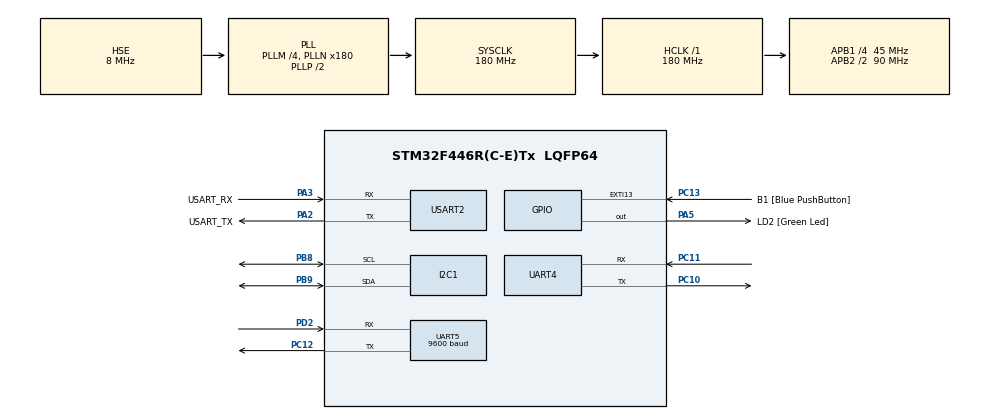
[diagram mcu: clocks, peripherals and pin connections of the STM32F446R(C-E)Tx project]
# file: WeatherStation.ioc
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Dma.Request0=UART5_RX
Dma.Request1=UART4_RX
Dma.UART4_RX.1.Direction=DMA_PERIPH_TO_MEMORY
Dma.UART4_RX.1.FIFOMode=DMA_FIFOMODE_DISABLE
Dma.UART4_RX.1.Instance=DMA1_Stream2
Dma.UART4_RX.1.MemDataAlignment=DMA_MDATAALIGN_BYTE
Dma.UART4_RX.1.MemInc=DMA_MINC_ENABLE
Dma.UART4_RX.1.Mode=DMA_CIRCULAR
Dma.UART4_RX.1.PeriphDataAlignment=DMA_PDATAALIGN_BYTE
Dma.UART4_RX.1.PeriphInc=DMA_PINC_DISABLE
Dma.UART4_RX.1.Priority=DMA_PRIORITY_LOW
Dma.UART5_RX.0.Direction=DMA_PERIPH_TO_MEMORY
Dma.UART5_RX.0.FIFOMode=DMA_FIFOMODE_DISABLE
Dma.UART5_RX.0.Instance=DMA1_Stream0
Dma.UART5_RX.0.MemDataAlignment=DMA_MDATAALIGN_BYTE
Dma.UART5_RX.0.MemInc=DMA_MINC_ENABLE
Dma.UART5_RX.0.Mode=DMA_CIRCULAR
Dma.UART5_RX.0.PeriphDataAlignment=DMA_PDATAALIGN_BYTE
Dma.UART5_RX.0.PeriphInc=DMA_PINC_DISABLE
Dma.UART5_RX.0.Priority=DMA_PRIORITY_LOW
FREERTOS.Mutexes01=mutex_sensors,Dynamic,NULL;mutex_metar,Dynamic,NULL;mutex_taf,Dynamic,NULL;mutex_console,Dynamic,NULL
FREERTOS.Queues01=queue_sensors,16,sensors_t,0,Dynamic,NULL,NULL;queue_reportMetar,16,report_metar_t,0,Dynamic,NULL,NULL;queue_reportTAF,16,report_taf_t,0,Dynamic,NULL,NULL
FREERTOS.Tasks01=thread_sensors,40,512,thread_sensors_func,Default,NULL,Dynamic,NULL,NULL;thread_lcd,8,512,thread_lcd_func,Default,NULL,Dynamic,NULL,NULL;thread_btooth,24,512,thread_btooth_func,Default,NULL,Dynamic,NULL,NULL;thread_reports,8,4096,thread_reports_func,Default,NULL,Dynamic,NULL,NULL
FREERTOS.configCHECK_FOR_STACK_OVERFLOW=1
FREERTOS.configENABLE_FPU=1
FREERTOS.configGENERATE_RUN_TIME_STATS=1
FREERTOS.configTOTAL_HEAP_SIZE=65536
FREERTOS.configUSE_MALLOC_FAILED_HOOK=1
FREERTOS.configUSE_NEWLIB_REENTRANT=1
FREERTOS.configUSE_STATS_FORMATTING_FUNCTIONS=1
FREERTOS.copyHeapFile=0
I2C1.I2C_Mode=I2C_Fast
Mcu.Family=STM32F4
Mcu.Name=STM32F446R(C-E)Tx
Mcu.Package=LQFP64
NVIC.DMA1_Stream0_IRQn=true\:0\:0\:false\:false\:true\:true\:false\:true
NVIC.DMA1_Stream2_IRQn=true\:0\:0\:false\:false\:true\:true\:false\:true
NVIC.PriorityGroup=NVIC_PRIORITYGROUP_4
NVIC.TIM6_DAC_IRQn=true\:0\:0\:false\:false\:true\:false\:false\:true
NVIC.TimeBase=TIM6_DAC_IRQn
NVIC.TimeBaseIP=TIM6
PA13.GPIO_Label=TMS
PA13.Mode=Serial_Wire
PA13.Signal=SYS_JTMS-SWDIO
PA14.GPIO_Label=TCK
PA14.Mode=Serial_Wire
PA14.Signal=SYS_JTCK-SWCLK
PA2.GPIO_Label=USART_TX
PA2.Mode=Asynchronous
PA2.Signal=USART2_TX
PA3.GPIO_Label=USART_RX
PA3.Mode=Asynchronous
PA3.Signal=USART2_RX
PA5.GPIO_Label=LD2 [Green Led]
PA5.Signal=GPIO_Output
PB3.GPIO_Label=SWO
PB3.Signal=SYS_JTDO-SWO
PB8.Mode=I2C
PB8.Signal=I2C1_SCL
PB9.Mode=I2C
PB9.Signal=I2C1_SDA
PC10.Mode=Asynchronous
PC10.Signal=UART4_TX
PC11.Mode=Asynchronous
PC11.Signal=UART4_RX
PC12.Mode=Asynchronous
PC12.Signal=UART5_TX
PC13.GPIO_Label=B1 [Blue PushButton]
PC13.GPIO_ModeDefaultEXTI=GPIO_MODE_IT_FALLING
PC13.Signal=GPXTI13
PC14-OSC32_IN.Signal=RCC_OSC32_IN
PC15-OSC32_OUT.Signal=RCC_OSC32_OUT
PD2.Mode=Asynchronous
PD2.Signal=UART5_RX
PH0-OSC_IN.Mode=HSE-External-Clock-Source
PH0-OSC_IN.Signal=RCC_OSC_IN
PH1-OSC_OUT.Mode=HSE-External-Clock-Source
PH1-OSC_OUT.Signal=RCC_OSC_OUT
ProjectManager.HeapSize=0x200
ProjectManager.StackSize=0x400
ProjectManager.TargetToolchain=STM32CubeIDE
RCC.AHBFreq_Value=180000000
RCC.APB1CLKDivider=RCC_HCLK_DIV4
RCC.APB1Freq_Value=45000000
RCC.APB1TimFreq_Value=90000000
RCC.APB2CLKDivider=RCC_HCLK_DIV2
RCC.APB2Freq_Value=90000000
RCC.APB2TimFreq_Value=180000000
RCC.CortexFreq_Value=180000000
RCC.FLatency-AdvancedSettings=FLASH_LATENCY_5
RCC.HCLKFreq_Value=180000000
RCC.HSE_VALUE=8000000
RCC.HSI_VALUE=16000000
RCC.LSE_VALUE=32768
RCC.PLLM=4
RCC.PLLN=180
RCC.PLLSourceVirtual=RCC_PLLSOURCE_HSE
RCC.SYSCLKFreq_VALUE=180000000
RCC.SYSCLKSource=RCC_SYSCLKSOURCE_PLLCLK
RCC.USBFreq_Value=180000000
RCC.VCOOutputFreq_Value=360000000
TIM2.Period=0xFFFFFFFF
TIM2.Prescaler=900-1
UART4.VirtualMode=Asynchronous
UART5.BaudRate=9600
UART5.VirtualMode=Asynchronous
USART2.VirtualMode=VM_ASYNC
VP_FREERTOS_VS_CMSIS_V2.Mode=CMSIS_V2
VP_SYS_VS_tim6.Mode=TIM6
VP_TIM2_VS_ClockSourceINT.Mode=Internal
board=NUCLEO-F446RE

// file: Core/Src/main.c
/* USER CODE BEGIN Header */
/**
  ******************************************************************************
  * @file           : main.c
  * @brief          : Main program body
  ******************************************************************************
  * @attention
  *
  * <h2><center>&copy; Copyright (c) 2020 STMicroelectronics.
  * All rights reserved.</center></h2>
  *
  * This software component is licensed by ST under BSD 3-Clause license,
  * the "License"; You may not use this file except in compliance with the
  * License. You may obtain a copy of the License at:
  *                        opensource.org/licenses/BSD-3-Clause
  *
  ******************************************************************************
  */
/* USER CODE END Header */
#include "main.h"
#include "cmsis_os.h"
#include "dma.h"
#include "i2c.h"
#include "tim.h"
#include "usart.h"
#include "gpio.h"

void SystemClock_Config(void);
void MX_FREERTOS_Init(void);

int main(void)
{

  /* MCU Configuration--------------------------------------------------------*/

  /* Reset of all peripherals, Initializes the Flash interface and the Systick. */
  HAL_Init();

  /* Configure the system clock */
  SystemClock_Config();

  /* Initialize all configured peripherals */
  MX_GPIO_Init();
  MX_DMA_Init();
  MX_I2C1_Init();
  MX_UART5_Init();
  MX_USART2_UART_Init();
  MX_UART4_Init();
  MX_TIM2_Init();

  /* Init scheduler */
  osKernelInitialize();  /* Call init function for freertos objects (in freertos.c) */
  MX_FREERTOS_Init();
  /* Start scheduler */
  osKernelStart();

  /* We should never get here as control is now taken by the scheduler */
  /* Infinite loop */
  while (1)
  {

  }
}

void SystemClock_Config(void)
{
  RCC_OscInitTypeDef RCC_OscInitStruct = {0};
  RCC_ClkInitTypeDef RCC_ClkInitStruct = {0};

  /** Configure the main internal regulator output voltage
  */
  __HAL_RCC_PWR_CLK_ENABLE();
  __HAL_PWR_VOLTAGESCALING_CONFIG(PWR_REGULATOR_VOLTAGE_SCALE1);
  /** Initializes the RCC Oscillators according to the specified parameters
  * in the RCC_OscInitTypeDef structure.
  */
  RCC_OscInitStruct.OscillatorType = RCC_OSCILLATORTYPE_HSE;
  RCC_OscInitStruct.HSEState = RCC_HSE_BYPASS;
  RCC_OscInitStruct.PLL.PLLState = RCC_PLL_ON;
  RCC_OscInitStruct.PLL.PLLSource = RCC_PLLSOURCE_HSE;
  RCC_OscInitStruct.PLL.PLLM = 4;
  RCC_OscInitStruct.PLL.PLLN = 180;
  RCC_OscInitStruct.PLL.PLLP = RCC_PLLP_DIV2;
  RCC_OscInitStruct.PLL.PLLQ = 2;
  RCC_OscInitStruct.PLL.PLLR = 2;
  if (HAL_RCC_OscConfig(&RCC_OscInitStruct) != HAL_OK)
  {
    Error_Handler();
  }
  /** Activate the Over-Drive mode
  */
  if (HAL_PWREx_EnableOverDrive() != HAL_OK)
  {
    Error_Handler();
  }
  /** Initializes the CPU, AHB and APB buses clocks
  */
  RCC_ClkInitStruct.ClockType = RCC_CLOCKTYPE_HCLK|RCC_CLOCKTYPE_SYSCLK
                              |RCC_CLOCKTYPE_PCLK1|RCC_CLOCKTYPE_PCLK2;
  RCC_ClkInitStruct.SYSCLKSource = RCC_SYSCLKSOURCE_PLLCLK;
  RCC_ClkInitStruct.AHBCLKDivider = RCC_SYSCLK_DIV1;
  RCC_ClkInitStruct.APB1CLKDivider = RCC_HCLK_DIV4;
  RCC_ClkInitStruct.APB2CLKDivider = RCC_HCLK_DIV2;

  if (HAL_RCC_ClockConfig(&RCC_ClkInitStruct, FLASH_LATENCY_5) != HAL_OK)
  {
    Error_Handler();
  }
}

void HAL_TIM_PeriodElapsedCallback(TIM_HandleTypeDef *htim)
{
  if (htim->Instance == TIM6) {
    HAL_IncTick();
  }
}

void Error_Handler(void)
{
  /* USER CODE BEGIN Error_Handler_Debug */
  /* User can add his own implementation to report the HAL error return state */
	//TODO:HAndel the error
	while(1);
  /* USER CODE END Error_Handler_Debug */
}

/************************ (C) COPYRIGHT STMicroelectronics *****END OF FILE****/

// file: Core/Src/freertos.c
/* USER CODE BEGIN Header */
/**
  ******************************************************************************
  * File Name          : freertos.c
  * Description        : Code for freertos applications
  ******************************************************************************
  * @attention
  *
  * <h2><center>&copy; Copyright (c) 2020 STMicroelectronics.
  * All rights reserved.</center></h2>
  *
  * This software component is licensed by ST under Ultimate Liberty license
  * SLA0044, the "License"; You may not use this file except in compliance with
  * the License. You may obtain a copy of the License at:
  *                             www.st.com/SLA0044
  *
  ******************************************************************************
  */
/* USER CODE END Header */

#include "FreeRTOS.h"
#include "task.h"
#include "main.h"
#include "cmsis_os.h"

/* USER CODE BEGIN Includes */
#include "tim.h"
#include "sensor.h"
#include "display.h"
#include "blootuoth.h"
#include "internet.h"
#include "usart.h"
#include "debug.h"
#include <string.h>

/* USER CODE END Includes */

/* USER CODE BEGIN PD */
#define MINUTES 1
#define HTTP_DELAY MINUTES * 60 * 1000

/* USER CODE END PD */

/* Definitions for thread_sensors */
osThreadId_t thread_sensorsHandle;
const osThreadAttr_t thread_sensors_attributes = {
  .name = "thread_sensors",
  .priority = (osPriority_t) osPriorityHigh,
  .stack_size = 512 * 4
};
/* Definitions for thread_lcd */
osThreadId_t thread_lcdHandle;
const osThreadAttr_t thread_lcd_attributes = {
  .name = "thread_lcd",
  .priority = (osPriority_t) osPriorityLow,
  .stack_size = 512 * 4
};
/* Definitions for thread_btooth */
osThreadId_t thread_btoothHandle;
const osThreadAttr_t thread_btooth_attributes = {
  .name = "thread_btooth",
  .priority = (osPriority_t) osPriorityNormal,
  .stack_size = 512 * 4
};
/* Definitions for thread_reports */
osThreadId_t thread_reportsHandle;
const osThreadAttr_t thread_reports_attributes = {
  .name = "thread_reports",
  .priority = (osPriority_t) osPriorityLow,
  .stack_size = 4096 * 4
};
/* Definitions for queue_sensors */
osMessageQueueId_t queue_sensorsHandle;
const osMessageQueueAttr_t queue_sensors_attributes = {
  .name = "queue_sensors"
};
/* Definitions for queue_reportMetar */
osMessageQueueId_t queue_reportMetarHandle;
const osMessageQueueAttr_t queue_reportMetar_attributes = {
  .name = "queue_reportMetar"
};
/* Definitions for queue_reportTAF */
osMessageQueueId_t queue_reportTAFHandle;
const osMessageQueueAttr_t queue_reportTAF_attributes = {
  .name = "queue_reportTAF"
};
/* Definitions for mutex_sensors */
osMutexId_t mutex_sensorsHandle;
const osMutexAttr_t mutex_sensors_attributes = {
  .name = "mutex_sensors"
};
/* Definitions for mutex_metar */
osMutexId_t mutex_metarHandle;
const osMutexAttr_t mutex_metar_attributes = {
  .name = "mutex_metar"
};
/* Definitions for mutex_taf */
osMutexId_t mutex_tafHandle;
const osMutexAttr_t mutex_taf_attributes = {
  .name = "mutex_taf"
};
/* Definitions for mutex_console */
osMutexId_t mutex_consoleHandle;
const osMutexAttr_t mutex_console_attributes = {
  .name = "mutex_console"
};

void thread_sensors_func(void *argument);
void thread_lcd_func(void *argument);
void thread_btooth_func(void *argument);
void thread_reports_func(void *argument);

void MX_FREERTOS_Init(void); /* (MISRA C 2004 rule 8.1) */

/* Hook prototypes */
void configureTimerForRunTimeStats(void);
unsigned long getRunTimeCounterValue(void);
void vApplicationStackOverflowHook(xTaskHandle xTask, signed char *pcTaskName);
void vApplicationMallocFailedHook(void);

/* USER CODE BEGIN 1 */
/* Functions needed when configGENERATE_RUN_TIME_STATS is on */
__weak void configureTimerForRunTimeStats(void)
{
	__HAL_DBGMCU_FREEZE_TIM2();
	HAL_TIM_Base_Start(&htim2);
}
__weak unsigned long getRunTimeCounterValue(void)
{
	return __HAL_TIM_GET_COUNTER(&htim2);
}
/* USER CODE END 1 */

/* USER CODE BEGIN 4 */
__weak void vApplicationStackOverflowHook(xTaskHandle xTask, signed char *pcTaskName)
{
   /* Run time stack overflow checking is performed if
   configCHECK_FOR_STACK_OVERFLOW is defined to 1 or 2. This hook function is
   called if a stack overflow is detected. */
#ifdef CONSOLE_DEBUG_ERROR
	char *error = "*****Error!!!vApplicationStackOverflowHook().*****\r\n";
	console_display(&huart2, error, strlen(error));
#endif
	while(1);
}
/* USER CODE END 4 */

/* USER CODE BEGIN 5 */
__weak void vApplicationMallocFailedHook(void)
{
   /* vApplicationMallocFailedHook() will only be called if
   configUSE_MALLOC_FAILED_HOOK is set to 1 in FreeRTOSConfig.h. It is a hook
   function that will get called if a call to pvPortMalloc() fails.
   pvPortMalloc() is called internally by the kernel whenever a task, queue,
   timer or semaphore is created. It is also called by various parts of the
   demo application. If heap_1.c or heap_2.c are used, then the size of the
   heap available to pvPortMalloc() is defined by configTOTAL_HEAP_SIZE in
   FreeRTOSConfig.h, and the xPortGetFreeHeapSize() API function can be used
   to query the size of free heap space that remains (although it does not
   provide information on how the remaining heap might be fragmented). */
#ifdef CONSOLE_DEBUG_ERROR
	char *error = "*****Error!!!vApplicationMallocFailedHook().*****\r\n";
	console_display(&huart2, error, strlen(error));
#endif
	while(1);
}
/* USER CODE END 5 */

void MX_FREERTOS_Init(void) {
  /* Create the mutex(es) */
  /* creation of mutex_sensors */
  mutex_sensorsHandle = osMutexNew(&mutex_sensors_attributes);

  /* creation of mutex_metar */
  mutex_metarHandle = osMutexNew(&mutex_metar_attributes);

  /* creation of mutex_taf */
  mutex_tafHandle = osMutexNew(&mutex_taf_attributes);

  /* creation of mutex_console */
  mutex_consoleHandle = osMutexNew(&mutex_console_attributes);

  /* Create the queue(s) */
  /* creation of queue_sensors */
  queue_sensorsHandle = osMessageQueueNew (16, sizeof(sensors_t), &queue_sensors_attributes);

  /* creation of queue_reportMetar */
  queue_reportMetarHandle = osMessageQueueNew (16, sizeof(report_metar_t), &queue_reportMetar_attributes);

  /* creation of queue_reportTAF */
  queue_reportTAFHandle = osMessageQueueNew (16, sizeof(report_taf_t), &queue_reportTAF_attributes);

  /* Create the thread(s) */
  /* creation of thread_sensors */
  thread_sensorsHandle = osThreadNew(thread_sensors_func, NULL, &thread_sensors_attributes);

  /* creation of thread_lcd */
  thread_lcdHandle = osThreadNew(thread_lcd_func, NULL, &thread_lcd_attributes);

  /* creation of thread_btooth */
  thread_btoothHandle = osThreadNew(thread_btooth_func, NULL, &thread_btooth_attributes);

  /* creation of thread_reports */
  thread_reportsHandle = osThreadNew(thread_reports_func, NULL, &thread_reports_attributes);

}

void thread_sensors_func(void *argument)
{
  /* USER CODE BEGIN thread_sensors_func */
	if(!sensors_init()) {
		osThreadTerminate(thread_sensorsHandle);
	}
	sensors_t sensor_data = {0};
  /* Infinite loop */
	for (;;) {
		sensor_get_data(&sensor_data);
		if(osMessageQueuePut(queue_sensorsHandle, &sensor_data, 0, 9) != osOK) {
			/*Send unsuccessufuly*/
#ifdef CONSOLE_DEBUG_ERROR
			char *error = "*****Error!!!osMessageQueuePut() - sensor.*****\r\n";
			console_display(&huart2, error, strlen(error));
#endif
		}
		osDelay(100);
	}
  /* USER CODE END thread_sensors_func */
}

void thread_lcd_func(void *argument)
{
  /* USER CODE BEGIN thread_lcd_func */
	lcd_int();
	sensors_t sensor_data = {0};
	report_metar_t metar_data = {0};
	report_taf_t taf_data;
  /* Infinite loop */
	for (;;) {
		if (osMessageQueueGet(queue_sensorsHandle, &sensor_data, NULL, 0) == osOK) {
			display_sensor_data(&sensor_data);
			if (osMutexAcquire(mutex_sensorsHandle, osWaitForever) == osOK) {
				write_sensor_data_bt(&sensor_data);
				osMutexRelease(mutex_sensorsHandle);
			}
		}
		if (osMessageQueueGet(queue_reportMetarHandle, &metar_data, NULL, 0) == osOK) {
			display_metar(&metar_data);
			if (osMutexAcquire( mutex_metarHandle, osWaitForever) == osOK) {
				write_metar_data_bt(&metar_data);
				osMutexRelease( mutex_metarHandle);
			}
		}
		if (osMessageQueueGet(queue_reportTAFHandle, &taf_data, NULL, 0) == osOK) {
			display_taf(&taf_data);
			if (osMutexAcquire(mutex_tafHandle, osWaitForever) == osOK) {
				write_taf_data_bt(&taf_data);
				osMutexRelease(mutex_tafHandle);
			}
		}
		osDelay(1);
	}
  /* USER CODE END thread_lcd_func */
}

void thread_btooth_func(void *argument)
{
  /* USER CODE BEGIN thread_btooth_func */
	blootuoth_int();
  /* Infinite loop */
	for (;;) {
		parcin_bt_command();
		osDelay(50);
	}
  /* USER CODE END thread_btooth_func */
}

void thread_reports_func(void *argument)
{
  /* USER CODE BEGIN thread_reports_func */
	wifi_init();
  /* Infinite loop */
	for (;;) {
		htpp_request_metar();
		htpp_request_taf();
		osDelay(HTTP_DELAY);
	}
  /* USER CODE END thread_reports_func */
}

/************************ (C) COPYRIGHT STMicroelectronics *****END OF FILE****/
